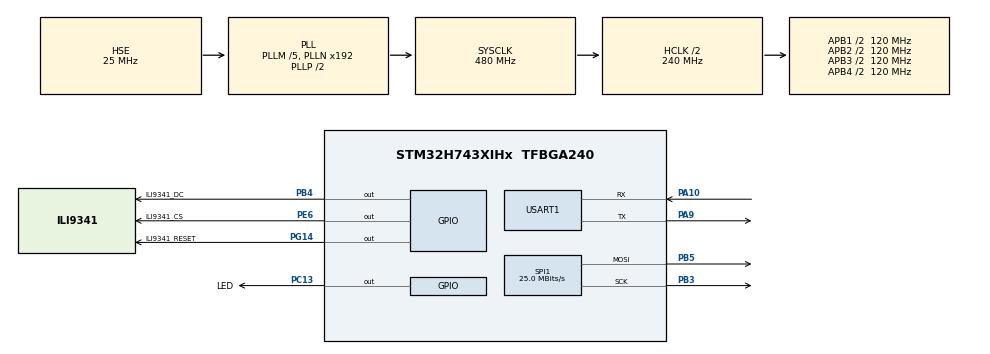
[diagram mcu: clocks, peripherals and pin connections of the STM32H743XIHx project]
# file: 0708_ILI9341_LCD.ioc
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CORTEX_M7.default_mode_Activation=1
Mcu.Family=STM32H7
Mcu.Name=STM32H743XIHx
Mcu.Package=TFBGA240
NVIC.PriorityGroup=NVIC_PRIORITYGROUP_4
PA10.Mode=Asynchronous
PA10.Signal=USART1_RX
PA13\ (JTMS/SWDIO).Mode=Serial_Wire
PA13\ (JTMS/SWDIO).Signal=DEBUG_JTMS-SWDIO
PA14\ (JTCK/SWCLK).Mode=Serial_Wire
PA14\ (JTCK/SWCLK).Signal=DEBUG_JTCK-SWCLK
PA9.Mode=Asynchronous
PA9.Signal=USART1_TX
PB3\ (JTDO/TRACESWO).Mode=TX_Only_Simplex_Unidirect_Master
PB3\ (JTDO/TRACESWO).Signal=SPI1_SCK
PB4\ (NJTRST).GPIO_Label=ILI9341_DC
PB4\ (NJTRST).Signal=GPIO_Output
PB5.Mode=TX_Only_Simplex_Unidirect_Master
PB5.Signal=SPI1_MOSI
PC13.GPIO_Label=LED
PC13.Signal=GPIO_Output
PE6.GPIO_Label=ILI9341_CS
PE6.Signal=GPIO_Output
PG14.GPIO_Label=ILI9341_RESET
PG14.Signal=GPIO_Output
PH0-OSC_IN\ (PH0).Mode=HSE-External-Oscillator
PH0-OSC_IN\ (PH0).Signal=RCC_OSC_IN
PH1-OSC_OUT\ (PH1).Mode=HSE-External-Oscillator
PH1-OSC_OUT\ (PH1).Signal=RCC_OSC_OUT
ProjectManager.HeapSize=0x200
ProjectManager.StackSize=0x400
ProjectManager.TargetToolchain=STM32CubeIDE
RCC.ADCFreq_Value=50390625
RCC.APB1Freq_Value=120000000
RCC.APB2Freq_Value=120000000
RCC.APB3Freq_Value=120000000
RCC.APB4Freq_Value=120000000
RCC.CortexFreq_Value=480000000
RCC.D1PPRE=RCC_APB3_DIV2
RCC.D2PPRE1=RCC_APB1_DIV2
RCC.D2PPRE2=RCC_APB2_DIV2
RCC.D3PPRE=RCC_APB4_DIV2
RCC.DIVM1=5
RCC.DIVM3=25
RCC.DIVN1=192
RCC.DIVN3=200
RCC.HCLKFreq_Value=240000000
RCC.HPRE=RCC_HCLK_DIV2
RCC.PLLFRACN=0
RCC.PLLSourceVirtual=RCC_PLLSOURCE_HSE
RCC.SPI123CLockSelection=RCC_SPI123CLKSOURCE_PLL3
RCC.SYSCLKFreq_VALUE=480000000
RCC.SYSCLKSource=RCC_SYSCLKSOURCE_PLLCLK
RCC.USBFreq_Value=480000000
SPI1.BaudRatePrescaler=SPI_BAUDRATEPRESCALER_4
SPI1.CalculateBaudRate=25.0 MBits/s
SPI1.DataSize=SPI_DATASIZE_8BIT
SPI1.Direction=SPI_DIRECTION_2LINES_TXONLY
SPI1.Mode=SPI_MODE_MASTER
SPI1.NSSPMode=SPI_NSS_PULSE_DISABLE
SPI1.VirtualType=VM_MASTER
USART1.VirtualMode-Asynchronous=VM_ASYNC
VP_MEMORYMAP_VS_MEMORYMAP.Mode=CurAppReg
board=custom

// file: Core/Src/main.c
/* USER CODE BEGIN Header */
/**
  ******************************************************************************
  * @file           : main.c
  * @brief          : Main program body
  ******************************************************************************
  * @attention
  *
  * Copyright (c) 2025 STMicroelectronics.
  * All rights reserved.
  *
  * This software is licensed under terms that can be found in the LICENSE file
  * in the root directory of this software component.
  * If no LICENSE file comes with this software, it is provided AS-IS.
  *
  ******************************************************************************
  */
/* USER CODE END Header */
#include "main.h"
#include "memorymap.h"
#include "spi.h"
#include "usart.h"
#include "gpio.h"

/* USER CODE BEGIN Includes */
#include <stdio.h>
#include "ili9341.h"
#include "fonts.h"
#include "testimg.h"
#include "pic_240x320.h"
/* USER CODE END Includes */

void SystemClock_Config(void);
static void MPU_Config(void);

/* USER CODE BEGIN 0 */
int __io_putchar(int ch)
{
	HAL_UART_Transmit(&huart1, (uint8_t *)&ch, 1, 1000);
	return ch;
}
/* USER CODE END 0 */

int main(void)
{

  /* MPU Configuration--------------------------------------------------------*/
  MPU_Config();

  /* MCU Configuration--------------------------------------------------------*/

  /* Reset of all peripherals, Initializes the Flash interface and the Systick. */
  HAL_Init();

  /* Configure the system clock */
  SystemClock_Config();

  /* Initialize all configured peripherals */
  MX_GPIO_Init();
  MX_SPI1_Init();
  MX_USART1_UART_Init();
  /* USER CODE BEGIN 2 */
//  printf("Hello STM32\n");
  ILI9341_Init();
  /* USER CODE END 2 */9o

  /* Infinite loop */
  /* USER CODE BEGIN WHILE */
  while (1)
  {
	  HAL_GPIO_TogglePin(GPIOC, GPIO_PIN_13);
	  ILI9341_FillScreen(ILI9341_BLACK);
	  HAL_Delay(500);
	  ILI9341_FillScreen(ILI9341_RED);
	  HAL_Delay(500);
	  ILI9341_FillScreen(ILI9341_BLUE);

	  ILI9341_DrawImage((ILI9341_WIDTH -240)/2, (ILI9341_WIDTH -240)/2, 240, 240, (const uint16_t *) test_img_240x240);
	  HAL_Delay(2000);

	  ILI9341_DrawImage((ILI9341_WIDTH -240)/2, (ILI9341_WIDTH -320)/2, 240, 3200, (const uint16_t *) pic_240x320);
    /* USER CODE END WHILE */

  }
}

void SystemClock_Config(void)
{
  RCC_OscInitTypeDef RCC_OscInitStruct = {0};
  RCC_ClkInitTypeDef RCC_ClkInitStruct = {0};

  /** Supply configuration update enable
  */
  HAL_PWREx_ConfigSupply(PWR_LDO_SUPPLY);

  /** Configure the main internal regulator output voltage
  */
  __HAL_PWR_VOLTAGESCALING_CONFIG(PWR_REGULATOR_VOLTAGE_SCALE0);

  while(!__HAL_PWR_GET_FLAG(PWR_FLAG_VOSRDY)) {}

  /** Initializes the RCC Oscillators according to the specified parameters
  * in the RCC_OscInitTypeDef structure.
  */
  RCC_OscInitStruct.OscillatorType = RCC_OSCILLATORTYPE_HSE;
  RCC_OscInitStruct.HSEState = RCC_HSE_ON;
  RCC_OscInitStruct.PLL.PLLState = RCC_PLL_ON;
  RCC_OscInitStruct.PLL.PLLSource = RCC_PLLSOURCE_HSE;
  RCC_OscInitStruct.PLL.PLLM = 5;
  RCC_OscInitStruct.PLL.PLLN = 192;
  RCC_OscInitStruct.PLL.PLLP = 2;
  RCC_OscInitStruct.PLL.PLLQ = 2;
  RCC_OscInitStruct.PLL.PLLR = 2;
  RCC_OscInitStruct.PLL.PLLRGE = RCC_PLL1VCIRANGE_2;
  RCC_OscInitStruct.PLL.PLLVCOSEL = RCC_PLL1VCOWIDE;
  RCC_OscInitStruct.PLL.PLLFRACN = 0;
  if (HAL_RCC_OscConfig(&RCC_OscInitStruct) != HAL_OK)
  {
    Error_Handler();
  }

  /** Initializes the CPU, AHB and APB buses clocks
  */
  RCC_ClkInitStruct.ClockType = RCC_CLOCKTYPE_HCLK|RCC_CLOCKTYPE_SYSCLK
                              |RCC_CLOCKTYPE_PCLK1|RCC_CLOCKTYPE_PCLK2
                              |RCC_CLOCKTYPE_D3PCLK1|RCC_CLOCKTYPE_D1PCLK1;
  RCC_ClkInitStruct.SYSCLKSource = RCC_SYSCLKSOURCE_PLLCLK;
  RCC_ClkInitStruct.SYSCLKDivider = RCC_SYSCLK_DIV1;
  RCC_ClkInitStruct.AHBCLKDivider = RCC_HCLK_DIV2;
  RCC_ClkInitStruct.APB3CLKDivider = RCC_APB3_DIV2;
  RCC_ClkInitStruct.APB1CLKDivider = RCC_APB1_DIV2;
  RCC_ClkInitStruct.APB2CLKDivider = RCC_APB2_DIV2;
  RCC_ClkInitStruct.APB4CLKDivider = RCC_APB4_DIV2;

  if (HAL_RCC_ClockConfig(&RCC_ClkInitStruct, FLASH_LATENCY_4) != HAL_OK)
  {
    Error_Handler();
  }
}

 /* MPU Configuration */

void MPU_Config(void)
{
  MPU_Region_InitTypeDef MPU_InitStruct = {0};

  /* Disables the MPU */
  HAL_MPU_Disable();

  /** Initializes and configures the Region and the memory to be protected
  */
  MPU_InitStruct.Enable = MPU_REGION_ENABLE;
  MPU_InitStruct.Number = MPU_REGION_NUMBER0;
  MPU_InitStruct.BaseAddress = 0x0;
  MPU_InitStruct.Size = MPU_REGION_SIZE_4GB;
  MPU_InitStruct.SubRegionDisable = 0x87;
  MPU_InitStruct.TypeExtField = MPU_TEX_LEVEL0;
  MPU_InitStruct.AccessPermission = MPU_REGION_NO_ACCESS;
  MPU_InitStruct.DisableExec = MPU_INSTRUCTION_ACCESS_DISABLE;
  MPU_InitStruct.IsShareable = MPU_ACCESS_SHAREABLE;
  MPU_InitStruct.IsCacheable = MPU_ACCESS_NOT_CACHEABLE;
  MPU_InitStruct.IsBufferable = MPU_ACCESS_NOT_BUFFERABLE;

  HAL_MPU_ConfigRegion(&MPU_InitStruct);
  /* Enables the MPU */
  HAL_MPU_Enable(MPU_PRIVILEGED_DEFAULT);

}

void Error_Handler(void)
{
  __disable_irq();
  while (1)
  {
  }
}
